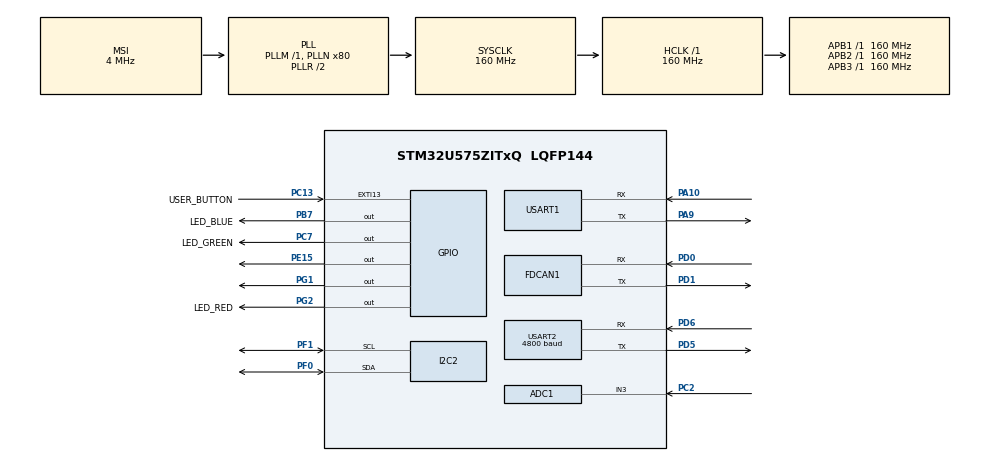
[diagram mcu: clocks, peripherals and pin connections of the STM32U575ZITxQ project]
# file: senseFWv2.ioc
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ADC1.NbrOfConversion=1
ADC1.master=1
CORTEX_M33_NS.userName=CORTEX_M33
FDCAN1.AutoRetransmission=ENABLE
FDCAN1.CalculateBaudRateNominal=500000
FDCAN1.CalculateTimeBitNominal=2000
FDCAN1.CalculateTimeQuantumNominal=100.0
FDCAN1.ClockDivider=FDCAN_CLOCK_DIV4
FDCAN1.DataSyncJumpWidth=16
FDCAN1.DataTimeSeg1=23
FDCAN1.DataTimeSeg2=16
FDCAN1.ExtFiltersNbr=1
FDCAN1.FrameFormat=FDCAN_FRAME_FD_BRS
FDCAN1.NominalPrescaler=4
FDCAN1.NominalSyncJumpWidth=3
FDCAN1.NominalTimeSeg1=16
FDCAN1.NominalTimeSeg2=3
FDCAN1.StdFiltersNbr=1
GPDMA1.CIRCULARMODE_GPDMACH15=DISABLE
GPDMA1.DESTINC_GPDMACH15=DMA_DINC_INCREMENTED
GPDMA1.IPHANDLE_GPDMACH15-SIMPLEREQUEST_GPDMACH15=__NULL
GPDMA1.REQUEST_GPDMACH15=GPDMA1_REQUEST_USART2_RX
I2C2.Timing=0x30909DEC
Mcu.Family=STM32U5
Mcu.Name=STM32U575ZITxQ
Mcu.Package=LQFP144
NVIC.FDCAN1_IT0_IRQn=true\:0\:0\:false\:false\:true\:true\:true\:true
NVIC.GPDMA1_Channel15_IRQn=true\:0\:0\:false\:false\:true\:false\:true\:true
NVIC.I2C2_ER_IRQn=true\:0\:0\:false\:false\:true\:true\:true\:true
NVIC.PriorityGroup=NVIC_PRIORITYGROUP_3
NVIC.TIM17_IRQn=true\:7\:0\:false\:false\:true\:false\:true\:true
NVIC.TimeBase=TIM17_IRQn
NVIC.TimeBaseIP=TIM17
NVIC.USART2_IRQn=true\:0\:0\:false\:false\:true\:true\:true\:true
PA0.Signal=UART4_TX
PA1.Signal=UART4_RX
PA10.Mode=Asynchronous
PA10.Signal=USART1_RX
PA13\ (JTMS/SWDIO).Signal=DEBUG_JTMS-SWDIO
PA14\ (JTCK/SWCLK).Signal=DEBUG_JTCK-SWCLK
PA15\ (JTDI).Signal=UCPD1_CC1
PA9.Mode=Asynchronous
PA9.Signal=USART1_TX
PB14.Signal=UCPD1_DBCC2
PB15.Signal=UCPD1_CC2
PB3\ (JTDO/TRACESWO).Signal=DEBUG_JTDO-SWO
PB5.Signal=UCPD1_DBCC1
PB7.GPIO_Label=LED_BLUE
PB7.Signal=GPIO_Output
PC13.GPIO_Label=USER_BUTTON
PC13.Signal=GPXTI13
PC14-OSC32_IN\ (PC14).Signal=RCC_OSC32_IN
PC15-OSC32_OUT\ (PC15).Signal=RCC_OSC32_OUT
PC2.Mode=IN3-Single-Ended
PC2.Signal=ADC1_IN3
PC7.GPIO_Label=LED_GREEN
PC7.Signal=GPIO_Output
PD0.Mode=FDCAN_Activate
PD0.Signal=FDCAN1_RX
PD1.Mode=FDCAN_Activate
PD1.Signal=FDCAN1_TX
PD5.Mode=Asynchronous
PD5.Signal=USART2_TX
PD6.Mode=Asynchronous
PD6.Signal=USART2_RX
PE15.Signal=GPIO_Output
PF0.Mode=I2C
PF0.Signal=I2C2_SDA
PF1.Mode=I2C
PF1.Signal=I2C2_SCL
PG1.Signal=GPIO_Output
PG2.GPIO_Label=LED_RED
PG2.Signal=GPIO_Output
PWR.PowerMode=PWR_SMPS_SUPPLY
ProjectManager.HeapSize=0x200
ProjectManager.StackSize=0x400
ProjectManager.TargetToolchain=STM32CubeIDE
RCC.ADCFreq_Value=16000000
RCC.AHBFreq_Value=160000000
RCC.APB1Freq_Value=160000000
RCC.APB1TimFreq_Value=160000000
RCC.APB2Freq_Value=160000000
RCC.APB2TimFreq_Value=160000000
RCC.APB3Freq_Value=160000000
RCC.CortexFreq_Value=160000000
RCC.DACCLockSelectionVirtual=RCC_DAC1CLKSOURCE_LSI
RCC.EPOD_VALUE=4000000
RCC.HCLKFreq_Value=160000000
RCC.HSE_VALUE=16000000
RCC.HSI48_VALUE=48000000
RCC.HSI_VALUE=16000000
RCC.LSE_VALUE=32768
RCC.LSIDIV_VALUE=32000
RCC.MSI_VALUE=4000000
RCC.PLLFRACN=0
RCC.PLLN=80
RCC.SYSCLKFreq_VALUE=160000000
RCC.SYSCLKSource=RCC_SYSCLKSOURCE_PLLCLK
RCC.USBFreq_Value=48000000
RCC.VCOOutputFreq_Value=320000000
USART1.VirtualMode-Asynchronous=VM_ASYNC
USART2.BaudRate=4800
USART2.VirtualMode-Asynchronous=VM_ASYNC
VP_GPDMA1_VS_GPDMACH15.Mode=SIMPLEREQUEST_GPDMACH15
VP_ICACHE_VS_ENABLE_ICACHE_MEMORY.Mode=Memoryregions
VP_ICACHE_VS_ICACHE.Mode=DirectMappedCache
VP_IWDG_VS_IWDG.Mode=IWDG_Activate
VP_LPBAMQUEUE_VS_QUEUE.Mode=QUEUEMODE
VP_LPBAM_VS_SIG1.Mode=SmartRun
VP_LPBAM_VS_SIG4.Mode=LPDMA1
VP_MEMORYMAP_VS_MEMORYMAP.Mode=CurAppReg
VP_PWR_VS_DBSignals.Mode=DisableDeadBatterySignals
VP_PWR_VS_LPOM.Mode=PowerOptimisation
VP_PWR_VS_SECSignals.Mode=Security/Privilege
VP_PWR_Vdda.Mode=isolationVdda
VP_SYS_VS_tim17.Mode=TIM17
board=NUCLEO-U575ZI-Q

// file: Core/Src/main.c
/* USER CODE BEGIN Header */
/**
  ******************************************************************************
  * @file           : main.c
  * @brief          : Main program body
  ******************************************************************************
  * @attention
  *
  * Copyright (c) 2025 STMicroelectronics.
  * All rights reserved.
  *
  * This software is licensed under terms that can be found in the LICENSE file
  * in the root directory of this software component.
  * If no LICENSE file comes with this software, it is provided AS-IS.
  *
  ******************************************************************************
  */
/* USER CODE END Header */
#include "main.h"

/* USER CODE BEGIN Includes */
#include <stdio.h>
#include <stdlib.h>
#include "can.h"
#include "string.h"
#include "stdbool.h"

/* USER CODE END Includes */

/* USER CODE BEGIN PM */
#define WIND_SENSOR_CAN_ID 0x041
/* USER CODE END PM */

ADC_HandleTypeDef hadc1;

FDCAN_HandleTypeDef hfdcan1;

I2C_HandleTypeDef hi2c2;

IWDG_HandleTypeDef hiwdg;

UART_HandleTypeDef huart1;
UART_HandleTypeDef huart2;
DMA_HandleTypeDef handle_GPDMA1_Channel15;

/* USER CODE BEGIN PV */

#define EZO_pH_I2C_ADDR (0x63 << 1)
#define EZO_EC_I2C_ADDR (0x64 << 1)
#define EZO_RTD_I2C_ADDR (0x66 << 1)

char uart_buffer[64];
volatile uint32_t max600_clock = 0;
volatile uint32_t max800_clock = 0;
volatile uint32_t last_reset_time = 0;
volatile uint32_t last_wind_msg_tick = 0;
volatile uint8_t consecutive_i2c_errors = 0;

// Tracks whether the "R" command was successfully ACK'd by each sensor
volatile bool rtd_cmd_ok = false;
volatile bool ec_cmd_ok = false;
volatile bool ph_cmd_ok = false;

static void MX_USART1_UART_Init(void);
/* USER CODE END PV */

void SystemClock_Config(void);
static void SystemPower_Config(void);
static void MX_GPIO_Init(void);
static void MX_GPDMA1_Init(void);
static void MX_ICACHE_Init(void);
static void MX_FDCAN1_Init(void);
static void MX_I2C2_Init(void);
static void MX_ADC1_Init(void);
static void MX_USART2_UART_Init(void);
static void MX_USART1_UART_Init(void);
static void MX_IWDG_Init(void);
/* USER CODE BEGIN PFP */
int read_rtd();
int read_ec();
int read_ph();
bool SendSensorCommand(const char *cmd, uint16_t address);
void ReadSensorResponse(char *buffer, uint8_t len, uint16_t address);
float simple_atof(char *str);
#ifdef __GNUC__
/* With GCC/RAISONANCE, small printf (option LD Linker->Libraries->Small printf
   set to 'Yes') calls __io_putchar() */
#define PUTCHAR_PROTOTYPE int __io_putchar(int ch)
#else
#define PUTCHAR_PROTOTYPE int fputc(int ch, FILE *f)
#endif /* __GNUC__ */

/* USER CODE END PFP */

int main(void)
{

  /* MCU Configuration--------------------------------------------------------*/

  /* Reset of all peripherals, Initializes the Flash interface and the Systick. */
  HAL_Init();

  /* Configure the System Power */
  SystemPower_Config();

  /* Configure the system clock */
  SystemClock_Config();

  /* USER CODE BEGIN SysInit */
  MX_USART1_UART_Init();
  /* USER CODE END SysInit */

  /* Initialize all configured peripherals */
  MX_GPIO_Init();
  MX_GPDMA1_Init();
  MX_ICACHE_Init();
  MX_FDCAN1_Init();
  MX_I2C2_Init();
  MX_ADC1_Init();
  MX_USART2_UART_Init();
  MX_USART1_UART_Init();
  MX_IWDG_Init();
  /* USER CODE BEGIN 2 */
  CAN_Init(&hfdcan1);
  NMEA0183 * windsensor = NMEA0183__create(&huart2);
  uint8_t output_wind_data[4];

  HAL_NVIC_SetPriority(USART2_IRQn, 0, 0);
  HAL_NVIC_EnableIRQ(USART2_IRQn);

  printf("It gets to here\r\n");
  HAL_GPIO_WritePin(GPIOE, GPIO_PIN_15, GPIO_PIN_SET);
  HAL_GPIO_WritePin(GPIOG, GPIO_PIN_1, GPIO_PIN_SET);

  max600_clock = 0;
  max800_clock = 0;

  /* USER CODE END 2 */

  /* Infinite loop */
  while (1)
  {

    /* USER CODE BEGIN 3 */
//	HAL_Delay(10);

	HAL_IWDG_Refresh(&hiwdg);
	Monitor_and_Recover_CAN();
	//HAL_Delay(100); // Give the sensor a moment to wake up
	uint8_t itemsInBuffer = NMEA0183__itemsInBuffer(windsensor);
	if (itemsInBuffer == 0)
		//printf("No items in buffer.\r\n");
		printf("\r");

	else {
	  	for(uint8_t itemIndex = 0; itemIndex < itemsInBuffer; itemIndex++){
	  		NMEA0183Raw * raw_msg = NMEA0183__getTopBufferItem(windsensor);

	  		if (raw_msg == NULL){
	  			NMEA0183__incrementReadIndex(windsensor);
	  			continue;
	  		}

	  		if (NMEA0183__checkMessage(raw_msg) != GOOD_MESSAGE){
	  			NMEA0183__incrementReadIndex(windsensor);
	  			continue;
	  		}

	  		if (NMEA0183__getScentenceType(raw_msg) == MESSAGE_MWV){
	  			uint16_t processedAngle = atof((char *)NMEA0183__getField(raw_msg, 1));
	  			uint16_t processedSpeed = atof((char *)NMEA0183__getField(raw_msg, 3)) * 10.0;

	  			last_wind_msg_tick = HAL_GetTick(); // We got data!
	  			HAL_GPIO_WritePin(LED_GREEN_GPIO_Port, LED_GREEN_Pin, GPIO_PIN_SET); // Green LED On = Healthy
	  			printf("Wind Dir: %u Wind Speed: %u\r\n", processedAngle,processedSpeed);

	  			output_wind_data[0] = (uint8_t) (processedAngle & 0xFF);
	  			output_wind_data[1] = (uint8_t) ((processedAngle >> 8) & 0xFF);
	  			output_wind_data[2] = (uint8_t) (processedSpeed & 0xFF);
	  			output_wind_data[3] = (uint8_t) ((processedSpeed >> 8) & 0xFF);
	  			if (CAN_Transmit(WIND_SENSOR_CAN_ID, FDCAN_STANDARD_ID, FDCAN_DLC_BYTES_4, output_wind_data, &hfdcan1) != HAL_OK) {
					printf("Wind sensor CAN transmit error detected");
				}

	  		}

	  		NMEA0183__incrementReadIndex(windsensor);

	  	}
	}

	uint8_t TxData_temp[3];
	memset(TxData_temp, 0, 3);
	uint8_t TxData_ec[4]; memset(TxData_ec, 0, 4);
	uint8_t TxData_ph[2]; memset(TxData_ph, 0, 2);

	// TEMPERATURE
	int temp_val = read_rtd();

	TxData_temp[0] = (uint8_t)(temp_val & 0xFF);
	TxData_temp[1] = (uint8_t)((temp_val >> 8) & 0xFF);
	TxData_temp[2] = (uint8_t)((temp_val >> 16) & 0xFF);

	if (temp_val != -1) {
		printf("Temp val: %u", temp_val);
	    if (CAN_Transmit(0x100, FDCAN_STANDARD_ID, FDCAN_DLC_BYTES_3, TxData_temp, &hfdcan1) != HAL_OK) {
	    	printf("Temperature sensor CAN tramsit failed");
		} else HAL_GPIO_WritePin(GPIOG, GPIO_PIN_1, GPIO_PIN_SET);
	}

	//HAL_GPIO_WritePin(GPIOG, GPIO_PIN_1, GPIO_PIN_RESET);
	//HAL_GPIO_TogglePin(GPIOG, GPIO_PIN_1);
//	if (temp_val != -1) {
//		printf("Temperature Value: %u\r\n", temp_val);
//	}

	// PH
	int ph_val = read_ph();
	TxData_ph[0] = (uint8_t)(ph_val & 0xFF);
	TxData_ph[1] = (uint8_t)((ph_val >> 8) & 0xFF);

	if (ph_val != -1) {
		printf("\nph val: %u", ph_val);
		if (CAN_Transmit(0x110, FDCAN_STANDARD_ID, FDCAN_DLC_BYTES_2, TxData_ph, &hfdcan1) != HAL_OK) {
			printf("PH sensor CAN tramsit failed");
		} else HAL_GPIO_WritePin(GPIOG, GPIO_PIN_1, GPIO_PIN_SET);
	}

	//HAL_GPIO_WritePin(GPIOG, GPIO_PIN_1, GPIO_PIN_RESET);
//	if (ph_val != -1) {
//		printf("PH Value: %u\r\n", ph_val);
//	}

	// SALINITY
	int ec_val = read_ec();
	TxData_ec[0] = (uint8_t)(ec_val & 0xFF);
	TxData_ec[1] = (uint8_t)((ec_val >> 8) & 0xFF);
	TxData_ec[2] = (uint8_t)((ec_val >> 16) & 0xFF);
	TxData_ec[3] = (uint8_t)((ec_val >> 24) & 0xFF);

	if (ec_val != -1) {
		printf("\nEc val: %u", ec_val);
		if (CAN_Transmit(0x120, FDCAN_STANDARD_ID, FDCAN_DLC_BYTES_4, TxData_ec, &hfdcan1) != HAL_OK) {
			printf("EC sensor CAN tramsit failed");
		} else HAL_GPIO_WritePin(GPIOG, GPIO_PIN_1, GPIO_PIN_SET);
	}

	//HAL_GPIO_WritePin(GPIOG, GPIO_PIN_1, GPIO_PIN_RESET);

//	if (ec_val != -1) {
//		printf("Salinity Value: %u\r\n", ec_val);
//	}

	max600_clock++;
	max800_clock++;

	HAL_Delay(1);

	uint32_t current_time = HAL_GetTick();

	// If no data for 5 seconds (5000ms)
	if (current_time - last_wind_msg_tick > 5000) {
	    printf("ALERT: Wind Sensor Disconnected!\r\n");
	    HAL_GPIO_WritePin(LED_GREEN_GPIO_Port, LED_GREEN_Pin, GPIO_PIN_RESET); // Green LED Off
	    HAL_GPIO_TogglePin(LED_RED_GPIO_Port, LED_RED_Pin); // Flash Red
	}

	// Check if Wind Sensor is dead (> 10 seconds silence)
	if ((current_time - last_wind_msg_tick > 10000) && (current_time - last_reset_time > 20000)) {
	    printf("WATCHDOG: Wind sensor dead. Performing Hard Reset...\r\n");

	    NVIC_SystemReset();

	    HAL_GPIO_WritePin(GPIOE, GPIO_PIN_15, GPIO_PIN_RESET);

	    HAL_Delay(500);

	    HAL_GPIO_WritePin(GPIOE, GPIO_PIN_15, GPIO_PIN_SET);

	    last_wind_msg_tick = HAL_GetTick();
	    last_reset_time = HAL_GetTick();
	}

	//printf("Ok something works\r\n");

  }
  /* USER CODE END 3 */
}

void SystemClock_Config(void)
{
  RCC_OscInitTypeDef RCC_OscInitStruct = {0};
  RCC_ClkInitTypeDef RCC_ClkInitStruct = {0};

  /** Configure the main internal regulator output voltage
  */
  if (HAL_PWREx_ControlVoltageScaling(PWR_REGULATOR_VOLTAGE_SCALE1) != HAL_OK)
  {
    Error_Handler();
  }

  /** Initializes the CPU, AHB and APB buses clocks
  */
  RCC_OscInitStruct.OscillatorType = RCC_OSCILLATORTYPE_HSI|RCC_OSCILLATORTYPE_LSI
                              |RCC_OSCILLATORTYPE_MSI;
  RCC_OscInitStruct.HSIState = RCC_HSI_ON;
  RCC_OscInitStruct.HSICalibrationValue = RCC_HSICALIBRATION_DEFAULT;
  RCC_OscInitStruct.LSIState = RCC_LSI_ON;
  RCC_OscInitStruct.MSIState = RCC_MSI_ON;
  RCC_OscInitStruct.MSICalibrationValue = RCC_MSICALIBRATION_DEFAULT;
  RCC_OscInitStruct.MSIClockRange = RCC_MSIRANGE_4;
  RCC_OscInitStruct.LSIDiv = RCC_LSI_DIV1;
  RCC_OscInitStruct.PLL.PLLState = RCC_PLL_ON;
  RCC_OscInitStruct.PLL.PLLSource = RCC_PLLSOURCE_MSI;
  RCC_OscInitStruct.PLL.PLLMBOOST = RCC_PLLMBOOST_DIV1;
  RCC_OscInitStruct.PLL.PLLM = 1;
  RCC_OscInitStruct.PLL.PLLN = 80;
  RCC_OscInitStruct.PLL.PLLP = 2;
  RCC_OscInitStruct.PLL.PLLQ = 2;
  RCC_OscInitStruct.PLL.PLLR = 2;
  RCC_OscInitStruct.PLL.PLLRGE = RCC_PLLVCIRANGE_0;
  RCC_OscInitStruct.PLL.PLLFRACN = 0;
  if (HAL_RCC_OscConfig(&RCC_OscInitStruct) != HAL_OK)
  {
    Error_Handler();
  }

  /** Initializes the CPU, AHB and APB buses clocks
  */
  RCC_ClkInitStruct.ClockType = RCC_CLOCKTYPE_HCLK|RCC_CLOCKTYPE_SYSCLK
                              |RCC_CLOCKTYPE_PCLK1|RCC_CLOCKTYPE_PCLK2
                              |RCC_CLOCKTYPE_PCLK3;
  RCC_ClkInitStruct.SYSCLKSource = RCC_SYSCLKSOURCE_PLLCLK;
  RCC_ClkInitStruct.AHBCLKDivider = RCC_SYSCLK_DIV1;
  RCC_ClkInitStruct.APB1CLKDivider = RCC_HCLK_DIV1;
  RCC_ClkInitStruct.APB2CLKDivider = RCC_HCLK_DIV1;
  RCC_ClkInitStruct.APB3CLKDivider = RCC_HCLK_DIV1;

  if (HAL_RCC_ClockConfig(&RCC_ClkInitStruct, FLASH_LATENCY_4) != HAL_OK)
  {
    Error_Handler();
  }
}

/**
  * @brief Power Configuration
  * @retval None
  */
static void SystemPower_Config(void)
{
  HAL_PWREx_EnableVddIO2();

  /*
   * Disable the internal Pull-Up in Dead Battery pins of UCPD peripheral
   */
  HAL_PWREx_DisableUCPDDeadBattery();

  /*
   * Switch to SMPS regulator instead of LDO
   */
  if (HAL_PWREx_ConfigSupply(PWR_SMPS_SUPPLY) != HAL_OK)
  {
    Error_Handler();
  }
}

static void MX_ADC1_Init(void)
{

  /** Common config
  */
  hadc1.Instance = ADC1;
  hadc1.Init.ClockPrescaler = ADC_CLOCK_ASYNC_DIV1;
  hadc1.Init.Resolution = ADC_RESOLUTION_14B;
  hadc1.Init.GainCompensation = 0;
  hadc1.Init.ScanConvMode = ADC_SCAN_DISABLE;
  hadc1.Init.EOCSelection = ADC_EOC_SINGLE_CONV;
  hadc1.Init.LowPowerAutoWait = DISABLE;
  hadc1.Init.ContinuousConvMode = DISABLE;
  hadc1.Init.NbrOfConversion = 1;
  hadc1.Init.DiscontinuousConvMode = DISABLE;
  hadc1.Init.DMAContinuousRequests = DISABLE;
  hadc1.Init.TriggerFrequencyMode = ADC_TRIGGER_FREQ_HIGH;
  hadc1.Init.Overrun = ADC_OVR_DATA_PRESERVED;
  hadc1.Init.LeftBitShift = ADC_LEFTBITSHIFT_NONE;
  hadc1.Init.ConversionDataManagement = ADC_CONVERSIONDATA_DR;
  hadc1.Init.OversamplingMode = DISABLE;
  if (HAL_ADC_Init(&hadc1) != HAL_OK)
  {
    Error_Handler();
  }

}

static void MX_FDCAN1_Init(void)
{

  hfdcan1.Instance = FDCAN1;
  hfdcan1.Init.ClockDivider = FDCAN_CLOCK_DIV4;
  hfdcan1.Init.FrameFormat = FDCAN_FRAME_FD_BRS;
  hfdcan1.Init.Mode = FDCAN_MODE_NORMAL;
  hfdcan1.Init.AutoRetransmission = ENABLE;
  hfdcan1.Init.TransmitPause = DISABLE;
  hfdcan1.Init.ProtocolException = DISABLE;
  hfdcan1.Init.NominalPrescaler = 4;
  hfdcan1.Init.NominalSyncJumpWidth = 3;
  hfdcan1.Init.NominalTimeSeg1 = 16;
  hfdcan1.Init.NominalTimeSeg2 = 3;
  hfdcan1.Init.DataPrescaler = 1;
  hfdcan1.Init.DataSyncJumpWidth = 16;
  hfdcan1.Init.DataTimeSeg1 = 23;
  hfdcan1.Init.DataTimeSeg2 = 16;
  hfdcan1.Init.StdFiltersNbr = 1;
  hfdcan1.Init.ExtFiltersNbr = 1;
  hfdcan1.Init.TxFifoQueueMode = FDCAN_TX_FIFO_OPERATION;
  if (HAL_FDCAN_Init(&hfdcan1) != HAL_OK)
  {
    Error_Handler();
  }

}

static void MX_GPDMA1_Init(void)
{

  /* Peripheral clock enable */
  __HAL_RCC_GPDMA1_CLK_ENABLE();

  /* GPDMA1 interrupt Init */
    HAL_NVIC_SetPriority(GPDMA1_Channel15_IRQn, 0, 0);
    HAL_NVIC_EnableIRQ(GPDMA1_Channel15_IRQn);

}

static void MX_I2C2_Init(void)
{

  hi2c2.Instance = I2C2;
  hi2c2.Init.Timing = 0x30909DEC;
  hi2c2.Init.OwnAddress1 = 0;
  hi2c2.Init.AddressingMode = I2C_ADDRESSINGMODE_7BIT;
  hi2c2.Init.DualAddressMode = I2C_DUALADDRESS_DISABLE;
  hi2c2.Init.OwnAddress2 = 0;
  hi2c2.Init.OwnAddress2Masks = I2C_OA2_NOMASK;
  hi2c2.Init.GeneralCallMode = I2C_GENERALCALL_DISABLE;
  hi2c2.Init.NoStretchMode = I2C_NOSTRETCH_DISABLE;
  if (HAL_I2C_Init(&hi2c2) != HAL_OK)
  {
    Error_Handler();
  }

  /** Configure Analogue filter
  */
  if (HAL_I2CEx_ConfigAnalogFilter(&hi2c2, I2C_ANALOGFILTER_ENABLE) != HAL_OK)
  {
    Error_Handler();
  }

  /** Configure Digital filter
  */
  if (HAL_I2CEx_ConfigDigitalFilter(&hi2c2, 0) != HAL_OK)
  {
    Error_Handler();
  }

}

static void MX_ICACHE_Init(void)
{

  /** Enable instruction cache in 1-way (direct mapped cache)
  */
  if (HAL_ICACHE_ConfigAssociativityMode(ICACHE_1WAY) != HAL_OK)
  {
    Error_Handler();
  }
  if (HAL_ICACHE_Enable() != HAL_OK)
  {
    Error_Handler();
  }

}

static void MX_IWDG_Init(void)
{

  hiwdg.Instance = IWDG;
  hiwdg.Init.Prescaler = IWDG_PRESCALER_4;
  hiwdg.Init.Window = 4095;
  hiwdg.Init.Reload = 4095;
  hiwdg.Init.EWI = 0;
  if (HAL_IWDG_Init(&hiwdg) != HAL_OK)
  {
    Error_Handler();
  }

}

static void MX_USART1_UART_Init(void)
{

  huart1.Instance = USART1;
  huart1.Init.BaudRate = 115200;
  huart1.Init.WordLength = UART_WORDLENGTH_8B;
  huart1.Init.StopBits = UART_STOPBITS_1;
  huart1.Init.Parity = UART_PARITY_NONE;
  huart1.Init.Mode = UART_MODE_TX_RX;
  huart1.Init.HwFlowCtl = UART_HWCONTROL_NONE;
  huart1.Init.OverSampling = UART_OVERSAMPLING_16;
  huart1.Init.OneBitSampling = UART_ONE_BIT_SAMPLE_DISABLE;
  huart1.Init.ClockPrescaler = UART_PRESCALER_DIV1;
  huart1.AdvancedInit.AdvFeatureInit = UART_ADVFEATURE_NO_INIT;
  if (HAL_UART_Init(&huart1) != HAL_OK)
  {
    Error_Handler();
  }
  if (HAL_UARTEx_SetTxFifoThreshold(&huart1, UART_TXFIFO_THRESHOLD_1_8) != HAL_OK)
  {
    Error_Handler();
  }
  if (HAL_UARTEx_SetRxFifoThreshold(&huart1, UART_RXFIFO_THRESHOLD_1_8) != HAL_OK)
  {
    Error_Handler();
  }
  if (HAL_UARTEx_DisableFifoMode(&huart1) != HAL_OK)
  {
    Error_Handler();
  }

}

static void MX_USART2_UART_Init(void)
{

  huart2.Instance = USART2;
  huart2.Init.BaudRate = 4800;
  huart2.Init.WordLength = UART_WORDLENGTH_8B;
  huart2.Init.StopBits = UART_STOPBITS_1;
  huart2.Init.Parity = UART_PARITY_NONE;
  huart2.Init.Mode = UART_MODE_TX_RX;
  huart2.Init.HwFlowCtl = UART_HWCONTROL_NONE;
  huart2.Init.OverSampling = UART_OVERSAMPLING_16;
  huart2.Init.OneBitSampling = UART_ONE_BIT_SAMPLE_DISABLE;
  huart2.Init.ClockPrescaler = UART_PRESCALER_DIV1;
  huart2.AdvancedInit.AdvFeatureInit = UART_ADVFEATURE_NO_INIT;
  if (HAL_UART_Init(&huart2) != HAL_OK)
  {
    Error_Handler();
  }
  if (HAL_UARTEx_SetTxFifoThreshold(&huart2, UART_TXFIFO_THRESHOLD_1_8) != HAL_OK)
  {
    Error_Handler();
  }
  if (HAL_UARTEx_SetRxFifoThreshold(&huart2, UART_RXFIFO_THRESHOLD_1_8) != HAL_OK)
  {
    Error_Handler();
  }
  if (HAL_UARTEx_DisableFifoMode(&huart2) != HAL_OK)
  {
    Error_Handler();
  }

}

static void MX_GPIO_Init(void)
{
  GPIO_InitTypeDef GPIO_InitStruct = {0};

  /* GPIO Ports Clock Enable */
  __HAL_RCC_GPIOC_CLK_ENABLE();
  __HAL_RCC_GPIOF_CLK_ENABLE();
  __HAL_RCC_GPIOA_CLK_ENABLE();
  __HAL_RCC_GPIOG_CLK_ENABLE();
  __HAL_RCC_GPIOE_CLK_ENABLE();
  __HAL_RCC_GPIOB_CLK_ENABLE();
  __HAL_RCC_GPIOD_CLK_ENABLE();

  /*Configure GPIO pin Output Level */
  HAL_GPIO_WritePin(GPIOG, GPIO_PIN_1|LED_RED_Pin, GPIO_PIN_RESET);

  /*Configure GPIO pin Output Level */
  HAL_GPIO_WritePin(GPIOE, GPIO_PIN_15, GPIO_PIN_RESET);

  /*Configure GPIO pin Output Level */
  HAL_GPIO_WritePin(LED_GREEN_GPIO_Port, LED_GREEN_Pin, GPIO_PIN_RESET);

  /*Configure GPIO pin Output Level */
  HAL_GPIO_WritePin(LED_BLUE_GPIO_Port, LED_BLUE_Pin, GPIO_PIN_RESET);

  /*Configure GPIO pin : USER_BUTTON_Pin */
  GPIO_InitStruct.Pin = USER_BUTTON_Pin;
  GPIO_InitStruct.Mode = GPIO_MODE_IT_RISING;
  GPIO_InitStruct.Pull = GPIO_NOPULL;
  HAL_GPIO_Init(USER_BUTTON_GPIO_Port, &GPIO_InitStruct);

  /*Configure GPIO pins : PA0 PA1 */
  GPIO_InitStruct.Pin = GPIO_PIN_0|GPIO_PIN_1;
  GPIO_InitStruct.Mode = GPIO_MODE_AF_PP;
  GPIO_InitStruct.Pull = GPIO_NOPULL;
  GPIO_InitStruct.Speed = GPIO_SPEED_FREQ_LOW;
  GPIO_InitStruct.Alternate = GPIO_AF8_UART4;
  HAL_GPIO_Init(GPIOA, &GPIO_InitStruct);

  /*Configure GPIO pins : PG1 LED_RED_Pin */
  GPIO_InitStruct.Pin = GPIO_PIN_1|LED_RED_Pin;
  GPIO_InitStruct.Mode = GPIO_MODE_OUTPUT_PP;
  GPIO_InitStruct.Pull = GPIO_NOPULL;
  GPIO_InitStruct.Speed = GPIO_SPEED_FREQ_LOW;
  HAL_GPIO_Init(GPIOG, &GPIO_InitStruct);

  /*Configure GPIO pin : PE15 */
  GPIO_InitStruct.Pin = GPIO_PIN_15;
  GPIO_InitStruct.Mode = GPIO_MODE_OUTPUT_PP;
  GPIO_InitStruct.Pull = GPIO_NOPULL;
  GPIO_InitStruct.Speed = GPIO_SPEED_FREQ_LOW;
  HAL_GPIO_Init(GPIOE, &GPIO_InitStruct);

  /*Configure GPIO pin : PB15 */
  GPIO_InitStruct.Pin = GPIO_PIN_15;
  GPIO_InitStruct.Mode = GPIO_MODE_ANALOG;
  GPIO_InitStruct.Pull = GPIO_NOPULL;
  HAL_GPIO_Init(GPIOB, &GPIO_InitStruct);

  /*Configure GPIO pin : LED_GREEN_Pin */
  GPIO_InitStruct.Pin = LED_GREEN_Pin;
  GPIO_InitStruct.Mode = GPIO_MODE_OUTPUT_PP;
  GPIO_InitStruct.Pull = GPIO_NOPULL;
  GPIO_InitStruct.Speed = GPIO_SPEED_FREQ_LOW;
  HAL_GPIO_Init(LED_GREEN_GPIO_Port, &GPIO_InitStruct);

  /*Configure GPIO pin : PA15 */
  GPIO_InitStruct.Pin = GPIO_PIN_15;
  GPIO_InitStruct.Mode = GPIO_MODE_ANALOG;
  GPIO_InitStruct.Pull = GPIO_NOPULL;
  HAL_GPIO_Init(GPIOA, &GPIO_InitStruct);

  /*Configure GPIO pin : LED_BLUE_Pin */
  GPIO_InitStruct.Pin = LED_BLUE_Pin;
  GPIO_InitStruct.Mode = GPIO_MODE_OUTPUT_PP;
  GPIO_InitStruct.Pull = GPIO_NOPULL;
  GPIO_InitStruct.Speed = GPIO_SPEED_FREQ_LOW;
  HAL_GPIO_Init(LED_BLUE_GPIO_Port, &GPIO_InitStruct);

}

/* USER CODE BEGIN 4 */

void Recover_I2C_Bus(void) {
    printf("I2C Critical Failure! Resetting Peripheral...\r\n");
    HAL_I2C_DeInit(&hi2c2);
    HAL_Delay(10);
    MX_I2C2_Init();
}

int read_rtd() {

	char response[32] = {0};

	if (max600_clock == 1) {
	    rtd_cmd_ok = SendSensorCommand("R", EZO_RTD_I2C_ADDR);
	}

	if (max600_clock == 600) {
	    if (!rtd_cmd_ok) return -1;  // Command was NACK'd, sensor likely unplugged
	    ReadSensorResponse(response, sizeof(response), EZO_RTD_I2C_ADDR);
	    if (response[0] != 1) return -1;  // EZO status byte: 1 = success
	    float response_f = simple_atof((char *) &response[1]) + 273.15;
	    return response_f * 1000;
	}

	return -1;

}

/*
 * EC Read */
int read_ec() { //0.07 -> 500,000; resolution decreases as conductivity increases

	char response[32] = {0};

	if (max600_clock == 1) {
	    ec_cmd_ok = SendSensorCommand("R", EZO_EC_I2C_ADDR);
	}

	if (max600_clock == 600) {
	    max600_clock = 0;
	    if (!ec_cmd_ok) return -1;  // Command was NACK'd, sensor likely unplugged
	    ReadSensorResponse(response, sizeof(response), EZO_EC_I2C_ADDR);
	    if (response[0] != 1) return -1;  // EZO status byte: 1 = success

	    float response_f = simple_atof(&response[1]);
	    return response_f;
	}

	return -1;

}

/*
 * pH Read */
int read_ph() { //0.001 -> 14.000, returns 1-> 14000

	char response[32] = {0};

	if (max800_clock == 1) {
	    ph_cmd_ok = SendSensorCommand("R", EZO_pH_I2C_ADDR);
	}

	if (max800_clock == 800) {
	    max800_clock = 0;
	    if (!ph_cmd_ok) return -1;  // Command was NACK'd, sensor likely unplugged
	    ReadSensorResponse(response, sizeof(response), EZO_pH_I2C_ADDR);
	    if (response[0] != 1) return -1;  // EZO status byte: 1 = success

	    float response_f = simple_atof(&response[1]);
	    return response_f * 1000;
	}

	return -1;

}

bool SendSensorCommand(const char *cmd, uint16_t address) {
    // 1. Try to transmit
    HAL_StatusTypeDef status = HAL_I2C_Master_Transmit(&hi2c2, address, (uint8_t *)cmd, strlen(cmd), 100);

    // 2. Check the result
    if (status != HAL_OK) {
        // FAILURE CASE
        consecutive_i2c_errors++; // Count the error

        // If we failed 5 times in a row, kick the hardware
        if (consecutive_i2c_errors >= 5) {
            Recover_I2C_Bus();
            consecutive_i2c_errors = 0; // Reset counter after kicking
        }
        return false;
    }
    else {
        // SUCCESS CASE
        consecutive_i2c_errors = 0;
        return true;
    }
}

void ReadSensorResponse(char *buffer, uint8_t len, uint16_t address) {
    HAL_I2C_Master_Receive(&hi2c2, address, (uint8_t*)buffer, len, HAL_MAX_DELAY);
}

void Monitor_and_Recover_CAN(void) {
    FDCAN_ProtocolStatusTypeDef ProtocolStatus;

    // 1. Get the current status of the CAN bus
    HAL_FDCAN_GetProtocolStatus(&hfdcan1, &ProtocolStatus);

    // 2. Check if we are in "Bus Off" state (Total Failure)
    // The hardware automatically turns off to protect the bus if too many errors occur.
    if (ProtocolStatus.BusOff) {
        printf("CAN Error: Bus Off detected! Resetting CAN...\r\n");

        // Force a restart of the CAN peripheral
        HAL_FDCAN_Stop(&hfdcan1);
        HAL_Delay(10); // Brief pause
        HAL_FDCAN_Start(&hfdcan1);
        return;
    }

    // 3. Check if the Outbox (Tx FIFO) is stuck/full
    // If free level is 0, the queue is full.
    if (HAL_FDCAN_GetTxFifoFreeLevel(&hfdcan1) == 0) {
        printf("CAN Error: Tx Queue Full! Flushing old messages...\r\n");

        // Cancel all pending messages (flush the toilet) so new data can get in
        HAL_FDCAN_AbortTxRequest(&hfdcan1, FDCAN_TX_BUFFER0 | FDCAN_TX_BUFFER1 | FDCAN_TX_BUFFER2);
    }
}

float simple_atof(char *str) {
    float result = 0.0f;
    float sign = 1.0f;
    float frac = 0.1f;
    bool after_decimal = false;
    bool started = false;

    // Skip everything until a digit or sign appears
    while (*str && !((*str >= '0' && *str <= '9') || *str == '-' || *str == '+')) {
        str++;
    }

    // Handle sign
    if (*str == '-') {
        sign = -1.0f;
        str++;
    } else if (*str == '+') {
        str++;
    }

    // Parse number
    while (*str) {
        if (*str >= '0' && *str <= '9') {
            started = true;
            if (!after_decimal) {
                result = result * 10.0f + (*str - '0');
            } else {
                result += (*str - '0') * frac;
                frac *= 0.1f;
            }
        } else if (*str == '.') {
            after_decimal = true;
        } else {
            if (started) break;
        }
        str++;
    }

    return result * sign;
}

PUTCHAR_PROTOTYPE
{
  /* Place your implementation of fputc here */
  /* e.g. write a character to the USART1 and Loop until the end of transmission */
  HAL_UART_Transmit(&huart1, (uint8_t *)&ch, 1, HAL_MAX_DELAY);

  return ch;
}
/* USER CODE END 4 */

void HAL_TIM_PeriodElapsedCallback(TIM_HandleTypeDef *htim)
{
  if (htim->Instance == TIM17)
  {
    HAL_IncTick();
  }
}

void Error_Handler(void)
{
  /* USER CODE BEGIN Error_Handler_Debug */
  /* User can add his own implementation to report the HAL error return state */
  __disable_irq();
  HAL_GPIO_WritePin(LED_RED_GPIO_Port, LED_RED_Pin, GPIO_PIN_SET);

    // Try to print (This will only work if we moved UART1 Init to the top!)
  printf("CRITICAL FAILURE! Error_Handler.\r\n");
  //printf("reset\r\n");
  NVIC_SystemReset();

  /* USER CODE END Error_Handler_Debug */
}
